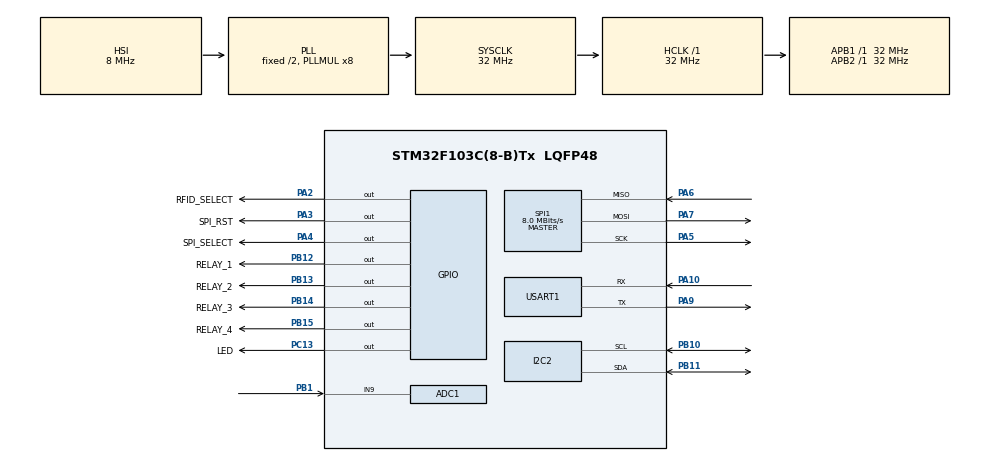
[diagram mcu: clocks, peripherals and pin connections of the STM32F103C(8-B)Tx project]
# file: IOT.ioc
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ADC1.Channel-0\#ChannelRegularConversion=ADC_CHANNEL_9
ADC1.ContinuousConvMode=ENABLE
ADC1.NbrOfConversionFlag=1
ADC1.Rank-0\#ChannelRegularConversion=1
ADC1.SamplingTime-0\#ChannelRegularConversion=ADC_SAMPLETIME_1CYCLE_5
ADC1.master=1
I2C2.I2C_Mode=I2C_Fast
Mcu.Family=STM32F1
Mcu.Name=STM32F103C(8-B)Tx
Mcu.Package=LQFP48
NVIC.PriorityGroup=NVIC_PRIORITYGROUP_4
PA10.Mode=Asynchronous
PA10.Signal=USART1_RX
PA13.Mode=Serial_Wire
PA13.Signal=SYS_JTMS-SWDIO
PA14.Mode=Serial_Wire
PA14.Signal=SYS_JTCK-SWCLK
PA2.GPIO_Label=RFID_SELECT
PA2.GPIO_Speed=GPIO_SPEED_FREQ_HIGH
PA2.Signal=GPIO_Output
PA3.GPIO_Label=SPI_RST
PA3.GPIO_Speed=GPIO_SPEED_FREQ_HIGH
PA3.Signal=GPIO_Output
PA4.GPIO_Label=SPI_SELECT
PA4.GPIO_Speed=GPIO_SPEED_FREQ_HIGH
PA4.Signal=GPIO_Output
PA5.Mode=Full_Duplex_Master
PA5.Signal=SPI1_SCK
PA6.Mode=Full_Duplex_Master
PA6.Signal=SPI1_MISO
PA7.Mode=Full_Duplex_Master
PA7.Signal=SPI1_MOSI
PA9.Mode=Asynchronous
PA9.Signal=USART1_TX
PB1.Signal=ADCx_IN9
PB10.Mode=I2C
PB10.Signal=I2C2_SCL
PB11.Mode=I2C
PB11.Signal=I2C2_SDA
PB12.GPIO_Label=RELAY_1
PB12.GPIO_Speed=GPIO_SPEED_FREQ_HIGH
PB12.Signal=GPIO_Output
PB13.GPIO_Label=RELAY_2
PB13.GPIO_Speed=GPIO_SPEED_FREQ_HIGH
PB13.Signal=GPIO_Output
PB14.GPIO_Label=RELAY_3
PB14.GPIO_Speed=GPIO_SPEED_FREQ_HIGH
PB14.Signal=GPIO_Output
PB15.GPIO_Label=RELAY_4
PB15.GPIO_Speed=GPIO_SPEED_FREQ_HIGH
PB15.Signal=GPIO_Output
PC13-TAMPER-RTC.GPIO_Label=LED
PC13-TAMPER-RTC.GPIO_Speed=GPIO_SPEED_FREQ_MEDIUM
PC13-TAMPER-RTC.PinState=GPIO_PIN_RESET
PC13-TAMPER-RTC.Signal=GPIO_Output
PC14-OSC32_IN.Mode=LSE-External-Oscillator
PC14-OSC32_IN.Signal=RCC_OSC32_IN
PC15-OSC32_OUT.Mode=LSE-External-Oscillator
PC15-OSC32_OUT.Signal=RCC_OSC32_OUT
PD0-OSC_IN.Mode=HSE-External-Oscillator
PD0-OSC_IN.Signal=RCC_OSC_IN
PD1-OSC_OUT.Mode=HSE-External-Oscillator
PD1-OSC_OUT.Signal=RCC_OSC_OUT
ProjectManager.HeapSize=0x200
ProjectManager.StackSize=0x400
ProjectManager.TargetToolchain=STM32CubeIDE
RCC.ADCPresc=RCC_ADCPCLK2_DIV4
RCC.AHBFreq_Value=32000000
RCC.APB1Freq_Value=32000000
RCC.APB1TimFreq_Value=32000000
RCC.APB2Freq_Value=32000000
RCC.APB2TimFreq_Value=32000000
RCC.HCLKFreq_Value=32000000
RCC.PLLMUL=RCC_PLL_MUL8
RCC.RTCClockSelection=RCC_RTCCLKSOURCE_LSE
RCC.SYSCLKFreq_VALUE=32000000
RCC.SYSCLKSource=RCC_SYSCLKSOURCE_PLLCLK
RCC.USBFreq_Value=32000000
RTC.AsynchPrediv=0x8000
RTC.AutoPrediv=0
SH.ADCx_IN9.0=ADC1_IN9,IN9
SPI1.BaudRatePrescaler=SPI_BAUDRATEPRESCALER_4
SPI1.CalculateBaudRate=8.0 MBits/s
SPI1.Direction=SPI_DIRECTION_2LINES
SPI1.Mode=SPI_MODE_MASTER
SPI1.VirtualType=VM_MASTER
USART1.VirtualMode=VM_ASYNC
VP_RTC_VS_RTC_Activate.Mode=RTC_Enabled
VP_RTC_VS_RTC_Calendar.Mode=RTC_Calendar
board=custom

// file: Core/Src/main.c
/* USER CODE BEGIN Header */
/**
  ******************************************************************************
  * @file           : main.c
  * @brief          : Main program body
  ******************************************************************************
  * @attention
  *
  * Copyright (c) 2023 STMicroelectronics.
  * All rights reserved.
  *
  * This software is licensed under terms that can be found in the LICENSE file
  * in the root directory of this software component.
  * If no LICENSE file comes with this software, it is provided AS-IS.
  *
  ******************************************************************************
  */
/* USER CODE END Header */
#include "main.h"

/* USER CODE BEGIN Includes */
//#include ""
#include <stdio.h>
#include <stdlib.h>
#include <string.h>
#include <stdbool.h>
//------- user added libraries
#include "cJSON.h"
#include "AHT20.h"
#include "InfoDATA.h"
#include "RTC_CONF.h"
// ------ server
#include "w5500.h"
#include "wizchip_conf.h"
#include "socket.h"
#include "W5500_SPI.h"
#include "sntp.h"
#include "HTTP.h"
/* USER CODE END Includes */

/* USER CODE BEGIN PD */
#define FLASH_USER_START_ADDR   ((uint32_t)0x0800FF00)
#define FLASH_USER_END_ADDR     ((uint32_t)0x0800FFFF)
#define DATA_SIZE               ((uint32_t)0x000000FF)

#define NETINFO_MAC  	  0x00,0x08,0xdc,0x00,0xab,0xcd
#define NETINFO_IP   	  192,168,1,123
#define NETINFO_SUBMASK   255,255,255,0
#define NETINFO_GATEWAY   192,168,1,1
#define NETINFO_DNS   	  8,8,8,8
#define SNTP_IP   	      31,214,170,254

#define SOCK_TCPS       0
#define SOCK_UDPS       1
#define PORT_TCPS		5000
#define PORT_UDPS       3000

#define REL_port GPIOB
#define REL1_pin GPIO_PIN_12
#define REL2_pin GPIO_PIN_13
#define REL3_pin GPIO_PIN_14
#define REL4_pin GPIO_PIN_15

#define PUTCHAR_PROTOTYPE int __io_putchar(int ch)
#define DATABUFSIZE   2048
/* USER CODE END PD */

ADC_HandleTypeDef hadc1;

I2C_HandleTypeDef hi2c2;

SPI_HandleTypeDef hspi1;

UART_HandleTypeDef huart1;

/* USER CODE BEGIN PV */
datetime DATE;
InfoDATA_craetor InfoDATA;
#define MAX_HTTPSOCK	6
uint8_t socknumlist[] = {1, 2, 3, 4, 5, 6};
char *JSONBUF; //JSON addres
uint8_t HTTPBUF[513];

st_http_request HTTPREQ;
/* USER CODE END PV */

void SystemClock_Config(void);
static void MX_GPIO_Init(void);
static void MX_ADC1_Init(void);
static void MX_I2C2_Init(void);
static void MX_SPI1_Init(void);
static void MX_RTC_Init(void);
static void MX_USART1_UART_Init(void);
/* USER CODE BEGIN PFP */
void network_init(void);
void RTC_NTP_sync(void);
void UPDATE_JSON(void);
/* USER CODE END PFP */

/* USER CODE BEGIN 0 */

wiz_NetInfo gWIZNETINFO1 = {
		.mac = {NETINFO_MAC},
		.ip = {NETINFO_IP},
		.sn = {NETINFO_SUBMASK},
		.gw = {NETINFO_GATEWAY},
		.dns = {NETINFO_DNS},
		.dhcp = NETINFO_STATIC };
wiz_NetInfo gWIZNETINFO2;
/* USER CODE END 0 */

int main(void)
{

  /* MCU Configuration--------------------------------------------------------*/

  /* Reset of all peripherals, Initializes the Flash interface and the Systick. */
  HAL_Init();

  /* Configure the system clock */
  SystemClock_Config();

  /* Initialize all configured peripherals */
  MX_GPIO_Init();
  MX_ADC1_Init();
  MX_I2C2_Init();
  MX_SPI1_Init();
  MX_RTC_Init();
  MX_USART1_UART_Init();
  /* USER CODE BEGIN 2 */
  HAL_GPIO_WritePin(LED_GPIO_Port, LED_Pin, 0);
    uint8_t tmp;
    uint8_t memsize[16] = {2,2,2,2,2,2,2,2,2,2,2,2,2,2,2,2};

  //  -- WIZCHIP SPI INIT
    printf("WIZCHIP SPI Init ...\n\r");
    reg_wizchip_cs_cbfunc(W5500_Select, W5500_Unselect);
    reg_wizchip_spi_cbfunc(W5500_ReadByte, W5500_WriteByte);
    reg_wizchip_spiburst_cbfunc(W5500_ReadBuff, W5500_WriteBuff);
    W5500_Restart();  // hardware restart through RESET pin

  //  -- WIZCHIP SOCKET Buffer initialize
    printf("WIZCHIP SOCKET Buffer Init ...\n\r");
    if(ctlwizchip(CW_INIT_WIZCHIP,(void*)memsize) == -1)
      {
      	printf("WIZCHIP buffer Initialized fail.\r\n");
         while(1);
      }
  //  -- PHY link status check
    printf("PHY Checking ...\n\r");
    do{
         if(ctlwizchip(CW_GET_PHYLINK, (void*)&tmp) == -1)
      	   printf("Unknown PHY Link stauts.\r\n");
    }while(tmp == PHY_LINK_OFF);

  //  -- network initializing
    printf("Net initilize ...\n\r");
    network_init();

    printf("RTC NTP ...\n\r");
    RTC_NTP_sync();

    AHT20_Init(&hi2c2);
    HAL_ADC_Start(&hadc1);

    strncpy(InfoDATA.UinqID, "X132HT89CLQPS32S", sizeof(InfoDATA.UinqID));
    strncpy(InfoDATA.Version, "CLT.1.3", sizeof(InfoDATA.Version));

  /* USER CODE END 2 */

  /* Infinite loop */
  /* USER CODE BEGIN WHILE */
  while (1)
  {
	  AHT20_Measure();
	  InfoDATA.TEMP=(double)((int)(AHT20_Temp()*100)/100.0);
	  InfoDATA.HUMID=(double)((int)(AHT20_Humid()*100)/100.0);
	  InfoDATA.LPG=HAL_ADC_GetValue(&hadc1);
	  InfoDATA.SMK=HAL_ADC_GetValue(&hadc1)+200;
	  UPDATE_JSON();
	  calcdatetime(LL_RTC_TIME_Get(RTC)+ Twn_offset, &DATE);
      printf("\r\nDate: %d, %d/%02d/%02d %02d:%02d:%02d\r\n",DATE.wd,DATE.yy,DATE.mo,DATE.dd,DATE.hh,DATE.mm,DATE.ss);

	  //HTTP Request making
	  HTTPREQ.METHOD=METHOD_POST;
	  strcpy((char*)HTTPREQ.URI,"server");
	  HTTPREQ.API[0]=0;
	  HTTPREQ.DATE[0]=DATE.wd+1;  HTTPREQ.DATE[1]=(uint8_t)(DATE.yy%100);    HTTPREQ.DATE[2]=DATE.mo;    HTTPREQ.DATE[3]=DATE.dd;
	  HTTPREQ.DATE[4]=DATE.hh;	  HTTPREQ.DATE[5]=DATE.mm;        HTTPREQ.DATE[6]=DATE.ss;
	  strcpy((char*)HTTPREQ.HOST,"185.230.163.241");
	  HTTPREQ.PORT=8000;
	  HTTPREQ.TYPE=PTYPE_JSON;
	  HTTP_ERROR_HANDLER(HTTP_REQ_make(HTTPREQ,(uint8_t *) JSONBUF, HTTPBUF));
	  printf("This is Output:\r\n");
	  printf((char*)HTTPBUF);

	  HAL_Delay(1000);

    /* USER CODE END WHILE */

  }
}

void SystemClock_Config(void)
{
  RCC_OscInitTypeDef RCC_OscInitStruct = {0};
  RCC_ClkInitTypeDef RCC_ClkInitStruct = {0};
  RCC_PeriphCLKInitTypeDef PeriphClkInit = {0};

  /** Initializes the RCC Oscillators according to the specified parameters
  * in the RCC_OscInitTypeDef structure.
  */
  RCC_OscInitStruct.OscillatorType = RCC_OSCILLATORTYPE_HSI|RCC_OSCILLATORTYPE_LSE;
  RCC_OscInitStruct.LSEState = RCC_LSE_ON;
  RCC_OscInitStruct.HSIState = RCC_HSI_ON;
  RCC_OscInitStruct.HSICalibrationValue = RCC_HSICALIBRATION_DEFAULT;
  RCC_OscInitStruct.PLL.PLLState = RCC_PLL_ON;
  RCC_OscInitStruct.PLL.PLLSource = RCC_PLLSOURCE_HSI_DIV2;
  RCC_OscInitStruct.PLL.PLLMUL = RCC_PLL_MUL8;
  if (HAL_RCC_OscConfig(&RCC_OscInitStruct) != HAL_OK)
  {
    Error_Handler();
  }

  /** Initializes the CPU, AHB and APB buses clocks
  */
  RCC_ClkInitStruct.ClockType = RCC_CLOCKTYPE_HCLK|RCC_CLOCKTYPE_SYSCLK
                              |RCC_CLOCKTYPE_PCLK1|RCC_CLOCKTYPE_PCLK2;
  RCC_ClkInitStruct.SYSCLKSource = RCC_SYSCLKSOURCE_PLLCLK;
  RCC_ClkInitStruct.AHBCLKDivider = RCC_SYSCLK_DIV1;
  RCC_ClkInitStruct.APB1CLKDivider = RCC_HCLK_DIV1;
  RCC_ClkInitStruct.APB2CLKDivider = RCC_HCLK_DIV1;

  if (HAL_RCC_ClockConfig(&RCC_ClkInitStruct, FLASH_LATENCY_1) != HAL_OK)
  {
    Error_Handler();
  }
  PeriphClkInit.PeriphClockSelection = RCC_PERIPHCLK_RTC|RCC_PERIPHCLK_ADC;
  PeriphClkInit.RTCClockSelection = RCC_RTCCLKSOURCE_LSE;
  PeriphClkInit.AdcClockSelection = RCC_ADCPCLK2_DIV4;
  if (HAL_RCCEx_PeriphCLKConfig(&PeriphClkInit) != HAL_OK)
  {
    Error_Handler();
  }
}

static void MX_ADC1_Init(void)
{

  ADC_ChannelConfTypeDef sConfig = {0};

  /** Common config
  */
  hadc1.Instance = ADC1;
  hadc1.Init.ScanConvMode = ADC_SCAN_DISABLE;
  hadc1.Init.ContinuousConvMode = ENABLE;
  hadc1.Init.DiscontinuousConvMode = DISABLE;
  hadc1.Init.ExternalTrigConv = ADC_SOFTWARE_START;
  hadc1.Init.DataAlign = ADC_DATAALIGN_RIGHT;
  hadc1.Init.NbrOfConversion = 1;
  if (HAL_ADC_Init(&hadc1) != HAL_OK)
  {
    Error_Handler();
  }

  /** Configure Regular Channel
  */
  sConfig.Channel = ADC_CHANNEL_9;
  sConfig.Rank = ADC_REGULAR_RANK_1;
  sConfig.SamplingTime = ADC_SAMPLETIME_1CYCLE_5;
  if (HAL_ADC_ConfigChannel(&hadc1, &sConfig) != HAL_OK)
  {
    Error_Handler();
  }

}

static void MX_I2C2_Init(void)
{

  hi2c2.Instance = I2C2;
  hi2c2.Init.ClockSpeed = 400000;
  hi2c2.Init.DutyCycle = I2C_DUTYCYCLE_2;
  hi2c2.Init.OwnAddress1 = 0;
  hi2c2.Init.AddressingMode = I2C_ADDRESSINGMODE_7BIT;
  hi2c2.Init.DualAddressMode = I2C_DUALADDRESS_DISABLE;
  hi2c2.Init.OwnAddress2 = 0;
  hi2c2.Init.GeneralCallMode = I2C_GENERALCALL_DISABLE;
  hi2c2.Init.NoStretchMode = I2C_NOSTRETCH_DISABLE;
  if (HAL_I2C_Init(&hi2c2) != HAL_OK)
  {
    Error_Handler();
  }

}

static void MX_RTC_Init(void)
{

  LL_RTC_InitTypeDef RTC_InitStruct = {0};
  LL_RTC_TimeTypeDef RTC_TimeStruct = {0};

    LL_PWR_EnableBkUpAccess();
    /* Enable BKP CLK enable for backup registers */
    LL_APB1_GRP1_EnableClock(LL_APB1_GRP1_PERIPH_BKP);
  /* Peripheral clock enable */
  LL_RCC_EnableRTC();

  /** Initialize RTC and set the Time and Date
  */
  RTC_InitStruct.AsynchPrescaler = 0x8000;
  LL_RTC_Init(RTC, &RTC_InitStruct);
  LL_RTC_SetAsynchPrescaler(RTC, 0x8000);

  /** Initialize RTC and set the Time and Date
  */
  RTC_TimeStruct.Hours = 0;
  RTC_TimeStruct.Minutes = 0;
  RTC_TimeStruct.Seconds = 0;
  LL_RTC_TIME_Init(RTC, LL_RTC_FORMAT_BCD, &RTC_TimeStruct);

}

static void MX_SPI1_Init(void)
{

  /* SPI1 parameter configuration*/
  hspi1.Instance = SPI1;
  hspi1.Init.Mode = SPI_MODE_MASTER;
  hspi1.Init.Direction = SPI_DIRECTION_2LINES;
  hspi1.Init.DataSize = SPI_DATASIZE_8BIT;
  hspi1.Init.CLKPolarity = SPI_POLARITY_LOW;
  hspi1.Init.CLKPhase = SPI_PHASE_1EDGE;
  hspi1.Init.NSS = SPI_NSS_SOFT;
  hspi1.Init.BaudRatePrescaler = SPI_BAUDRATEPRESCALER_4;
  hspi1.Init.FirstBit = SPI_FIRSTBIT_MSB;
  hspi1.Init.TIMode = SPI_TIMODE_DISABLE;
  hspi1.Init.CRCCalculation = SPI_CRCCALCULATION_DISABLE;
  hspi1.Init.CRCPolynomial = 10;
  if (HAL_SPI_Init(&hspi1) != HAL_OK)
  {
    Error_Handler();
  }

}

static void MX_USART1_UART_Init(void)
{

  huart1.Instance = USART1;
  huart1.Init.BaudRate = 115200;
  huart1.Init.WordLength = UART_WORDLENGTH_8B;
  huart1.Init.StopBits = UART_STOPBITS_1;
  huart1.Init.Parity = UART_PARITY_NONE;
  huart1.Init.Mode = UART_MODE_TX_RX;
  huart1.Init.HwFlowCtl = UART_HWCONTROL_NONE;
  huart1.Init.OverSampling = UART_OVERSAMPLING_16;
  if (HAL_UART_Init(&huart1) != HAL_OK)
  {
    Error_Handler();
  }

}

static void MX_GPIO_Init(void)
{
  GPIO_InitTypeDef GPIO_InitStruct = {0};

  /* GPIO Ports Clock Enable */
  __HAL_RCC_GPIOC_CLK_ENABLE();
  __HAL_RCC_GPIOD_CLK_ENABLE();
  __HAL_RCC_GPIOA_CLK_ENABLE();
  __HAL_RCC_GPIOB_CLK_ENABLE();

  /*Configure GPIO pin Output Level */
  HAL_GPIO_WritePin(LED_GPIO_Port, LED_Pin, GPIO_PIN_RESET);

  /*Configure GPIO pin Output Level */
  HAL_GPIO_WritePin(GPIOA, RFID_SELECT_Pin|SPI_RST_Pin|SPI_SELECT_Pin, GPIO_PIN_RESET);

  /*Configure GPIO pin Output Level */
  HAL_GPIO_WritePin(GPIOB, RELAY_1_Pin|RELAY_2_Pin|RELAY_3_Pin|RELAY_4_Pin, GPIO_PIN_RESET);

  /*Configure GPIO pin : LED_Pin */
  GPIO_InitStruct.Pin = LED_Pin;
  GPIO_InitStruct.Mode = GPIO_MODE_OUTPUT_PP;
  GPIO_InitStruct.Pull = GPIO_NOPULL;
  GPIO_InitStruct.Speed = GPIO_SPEED_FREQ_MEDIUM;
  HAL_GPIO_Init(LED_GPIO_Port, &GPIO_InitStruct);

  /*Configure GPIO pins : RFID_SELECT_Pin SPI_RST_Pin SPI_SELECT_Pin */
  GPIO_InitStruct.Pin = RFID_SELECT_Pin|SPI_RST_Pin|SPI_SELECT_Pin;
  GPIO_InitStruct.Mode = GPIO_MODE_OUTPUT_PP;
  GPIO_InitStruct.Pull = GPIO_NOPULL;
  GPIO_InitStruct.Speed = GPIO_SPEED_FREQ_HIGH;
  HAL_GPIO_Init(GPIOA, &GPIO_InitStruct);

  /*Configure GPIO pins : RELAY_1_Pin RELAY_2_Pin RELAY_3_Pin RELAY_4_Pin */
  GPIO_InitStruct.Pin = RELAY_1_Pin|RELAY_2_Pin|RELAY_3_Pin|RELAY_4_Pin;
  GPIO_InitStruct.Mode = GPIO_MODE_OUTPUT_PP;
  GPIO_InitStruct.Pull = GPIO_NOPULL;
  GPIO_InitStruct.Speed = GPIO_SPEED_FREQ_HIGH;
  HAL_GPIO_Init(GPIOB, &GPIO_InitStruct);

}

/* USER CODE BEGIN 4 */
void UPDATE_JSON(void){
		cJSON *root = cJSON_CreateObject();
	    cJSON_AddNumberToObject(root, "temp", InfoDATA.TEMP);
	    cJSON_AddNumberToObject(root, "humid", InfoDATA.HUMID);
	    cJSON_AddNumberToObject(root, "lpg", InfoDATA.LPG);
	    cJSON_AddNumberToObject(root, "smk", InfoDATA.SMK);
	    cJSON_AddStringToObject(root, "uid", InfoDATA.UinqID);
	    cJSON_AddStringToObject(root, "ver", InfoDATA.Version);
	    JSONBUF = cJSON_Print(root);
	    // Clean up cJSON objects
	    cJSON_Delete(root);
}

/********************************** NTP and RTC ******************************************/
void RTC_NTP_sync(void){
	  LL_RTC_EnterInitMode(RTC);
	  LL_RTC_DisableWriteProtection(RTC);
	  uint8_t Timebuf[48]={0};
	  uint8_t ntpserverip[4] ={SNTP_IP};
	  datetime TIME_DST;
	  printf("SNTP initializing\r\n");
	  SNTP_init(0, ntpserverip, 21, Timebuf);
	  printf("SNTP Running\r\n");
	  tstamp S=0;
	  do{
		 HAL_Delay(100);
		 S = SNTP_run(&TIME_DST);
	  }while(S==0);
	  LL_RTC_TIME_Set(RTC,(uint32_t)(S - Twn_offset));
	  printf("SNTP success, configing RTC\r\n");
	  LL_RTC_ExitInitMode(RTC);
	  LL_RTC_EnableWriteProtection(RTC);
}
/********************************** END - NTP and RTC ******************************************/

/********************************** UART REDIRECT ******************************************/
PUTCHAR_PROTOTYPE
{
  HAL_UART_Transmit(&huart1, (uint8_t *)&ch, 1, 0xFFFF);
  return ch;
}
/********************************** END - UART REDIRECT ******************************************/

/********************************** Network Init ******************************************/
void network_init(void)
{
   uint8_t tmpstr[6];
	ctlnetwork(CN_SET_NETINFO, (void*)&gWIZNETINFO1);
	ctlnetwork(CN_GET_NETINFO, (void*)&gWIZNETINFO2);
	// Display Network Information
	ctlwizchip(CW_GET_ID,(void*)tmpstr);
	printf("\r\n=== %s NET CONF ===\r\n",(char*)tmpstr);
	printf("MAC: %02X:%02X:%02X:%02X:%02X:%02X\r\n",gWIZNETINFO2.mac[0],gWIZNETINFO2.mac[1],gWIZNETINFO2.mac[2],
		  gWIZNETINFO2.mac[3],gWIZNETINFO2.mac[4],gWIZNETINFO2.mac[5]);
	printf("SIP: %d.%d.%d.%d\r\n", gWIZNETINFO2.ip[0],gWIZNETINFO2.ip[1],gWIZNETINFO2.ip[2],gWIZNETINFO2.ip[3]);
	printf("GAR: %d.%d.%d.%d\r\n", gWIZNETINFO2.gw[0],gWIZNETINFO2.gw[1],gWIZNETINFO2.gw[2],gWIZNETINFO2.gw[3]);
	printf("SUB: %d.%d.%d.%d\r\n", gWIZNETINFO2.sn[0],gWIZNETINFO2.sn[1],gWIZNETINFO2.sn[2],gWIZNETINFO2.sn[3]);
	printf("DNS: %d.%d.%d.%d\r\n", gWIZNETINFO2.dns[0],gWIZNETINFO2.dns[1],gWIZNETINFO2.dns[2],gWIZNETINFO2.dns[3]);
	printf("======================\r\n");
}
/********************************** END - Network Init ******************************************/

/* USER CODE END 4 */

void Error_Handler(void)
{
  __disable_irq();
  while (1)
  {
  }
}
